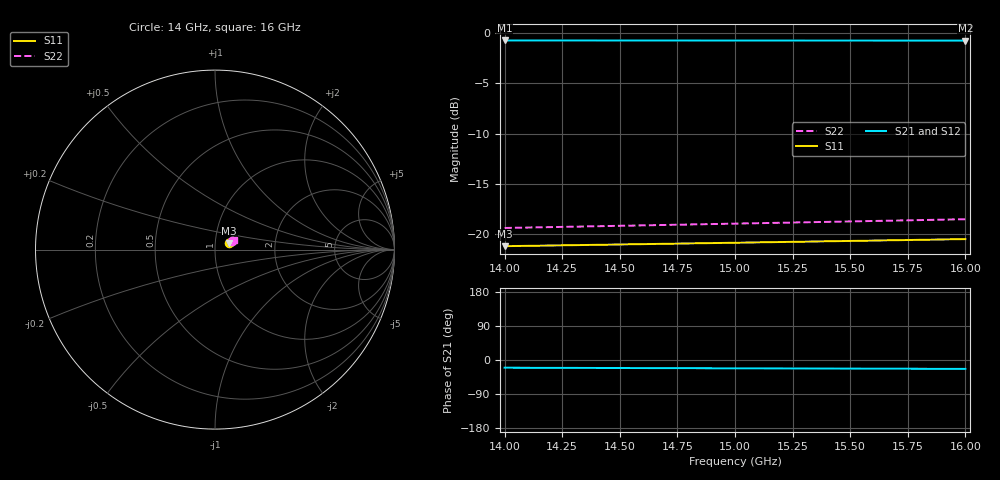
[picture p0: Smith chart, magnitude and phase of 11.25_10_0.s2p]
! Created Fri Dec 11 14:14:19 2020
# hz S ma R 50
! 2 Port Network Data from Sweep1.SP1.SP block
! freq  magS11  angS11  magS21  angS21  magS12  angS12  magS22  angS22
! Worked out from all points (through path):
!   21 points, 14 GHz to 16 GHz, reference 50 ohm
!   highest |S21| = -0.74 dB at 14 GHz (marker M1); lowest = -0.8 dB at 16 GHz (marker M2)
!   group delay of S21, straight-line fit = 4.25 ps
!   lowest |S11| = -21.2 dB at 14 GHz (marker M3), VSWR 1.19, Z = 58.5 + j4.33 ohm
!   |S11| at or under -10 dB: start of sweep to end of sweep
!   |S22| runs from -19.4 to -18.5 dB; largest |S21 - S12| = 1.6e-09
1.4e10  0.08749 24.9  0.918 -20.4  0.918 -20.4  0.1077 25.3
1.41e10  0.08782 25.0  0.918 -20.6  0.918 -20.6  0.1082 25.4
1.42e10  0.08816 25.1  0.9179 -20.7  0.9179 -20.7  0.1088 25.4
1.43e10  0.0885 25.2  0.9178 -20.9  0.9178 -20.9  0.1093 25.4
1.44e10  0.08885 25.4  0.9177 -21.0  0.9177 -21.0  0.1099 25.5
1.45e10  0.0892 25.5  0.9177 -21.2  0.9177 -21.2  0.1104 25.5
1.46e10  0.08955 25.6  0.9176 -21.3  0.9176 -21.3  0.111 25.5
1.47e10  0.08991 25.8  0.9175 -21.5  0.9175 -21.5  0.1115 25.6
1.48e10  0.09026 25.9  0.9174 -21.6  0.9174 -21.6  0.1121 25.6
1.49e10  0.09063 26.0  0.9173 -21.8  0.9173 -21.8  0.1126 25.6
1.5e10  0.09099 26.1  0.9173 -21.9  0.9173 -21.9  0.1132 25.7
1.51e10  0.09136 26.3  0.9172 -22.1  0.9172 -22.1  0.1138 25.7
1.52e10  0.09174 26.4  0.9171 -22.2  0.9171 -22.2  0.1143 25.7
1.53e10  0.09211 26.5  0.917 -22.4  0.917 -22.4  0.1149 25.7
1.54e10  0.0925 26.6  0.917 -22.5  0.917 -22.5  0.1155 25.8
1.55e10  0.09288 26.8  0.9169 -22.7  0.9169 -22.7  0.1161 25.8
1.56e10  0.09327 26.9  0.9168 -22.8  0.9168 -22.8  0.1167 25.8
1.57e10  0.09366 27.0  0.9167 -23.0  0.9167 -23.0  0.1173 25.8
1.58e10  0.09406 27.1  0.9166 -23.2  0.9166 -23.2  0.1179 25.8
1.59e10  0.09446 27.2  0.9166 -23.3  0.9166 -23.3  0.1185 25.8
1.6e10  0.09486 27.4  0.9165 -23.5  0.9165 -23.5  0.1191 25.9
